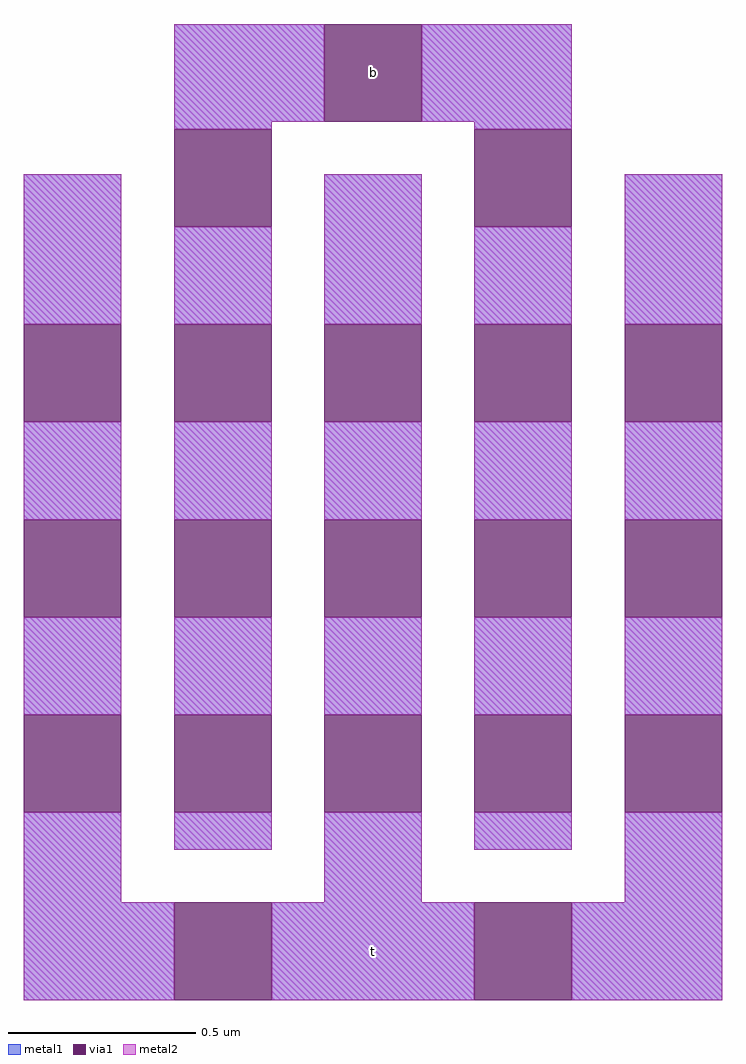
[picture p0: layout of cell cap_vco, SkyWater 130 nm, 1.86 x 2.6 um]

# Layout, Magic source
magic
tech sky130A
<< metal1 >>
rect 317 231 357 257
rect 383 231 423 257
rect 317 229 343 231
rect 277 177 303 217
rect 277 125 303 151
rect 277 73 303 99
rect 277 23 303 47
rect 397 229 423 231
rect 317 177 343 203
rect 317 125 343 151
rect 317 73 343 99
rect 317 37 343 47
rect 357 177 383 217
rect 357 125 383 151
rect 357 73 383 99
rect 357 23 383 47
rect 397 177 423 203
rect 397 125 423 151
rect 397 73 423 99
rect 397 37 423 47
rect 437 177 463 217
rect 437 125 463 151
rect 437 73 463 99
rect 437 23 463 47
rect 277 -3 317 23
rect 343 -3 397 23
rect 423 -3 463 23
<< via1 >>
rect 357 231 383 257
rect 277 151 303 177
rect 277 99 303 125
rect 277 47 303 73
rect 317 203 343 229
rect 317 151 343 177
rect 317 99 343 125
rect 317 47 343 73
rect 357 151 383 177
rect 357 99 383 125
rect 357 47 383 73
rect 397 203 423 229
rect 397 151 423 177
rect 397 99 423 125
rect 397 47 423 73
rect 437 151 463 177
rect 437 99 463 125
rect 437 47 463 73
rect 317 -3 343 23
rect 397 -3 423 23
<< metal2 >>
rect 317 231 357 257
rect 383 231 423 257
rect 317 229 343 231
rect 277 177 303 217
rect 277 125 303 151
rect 277 73 303 99
rect 277 23 303 47
rect 397 229 423 231
rect 317 177 343 203
rect 317 125 343 151
rect 317 73 343 99
rect 317 37 343 47
rect 357 177 383 217
rect 357 125 383 151
rect 357 73 383 99
rect 357 23 383 47
rect 397 177 423 203
rect 397 125 423 151
rect 397 73 423 99
rect 397 37 423 47
rect 437 177 463 217
rect 437 125 463 151
rect 437 73 463 99
rect 437 23 463 47
rect 277 -3 317 23
rect 343 -3 397 23
rect 423 -3 463 23
<< labels >>
rlabel via1 357 231 383 257 1 b
rlabel metal2 357 -3 383 23 1 t
<< end >>
